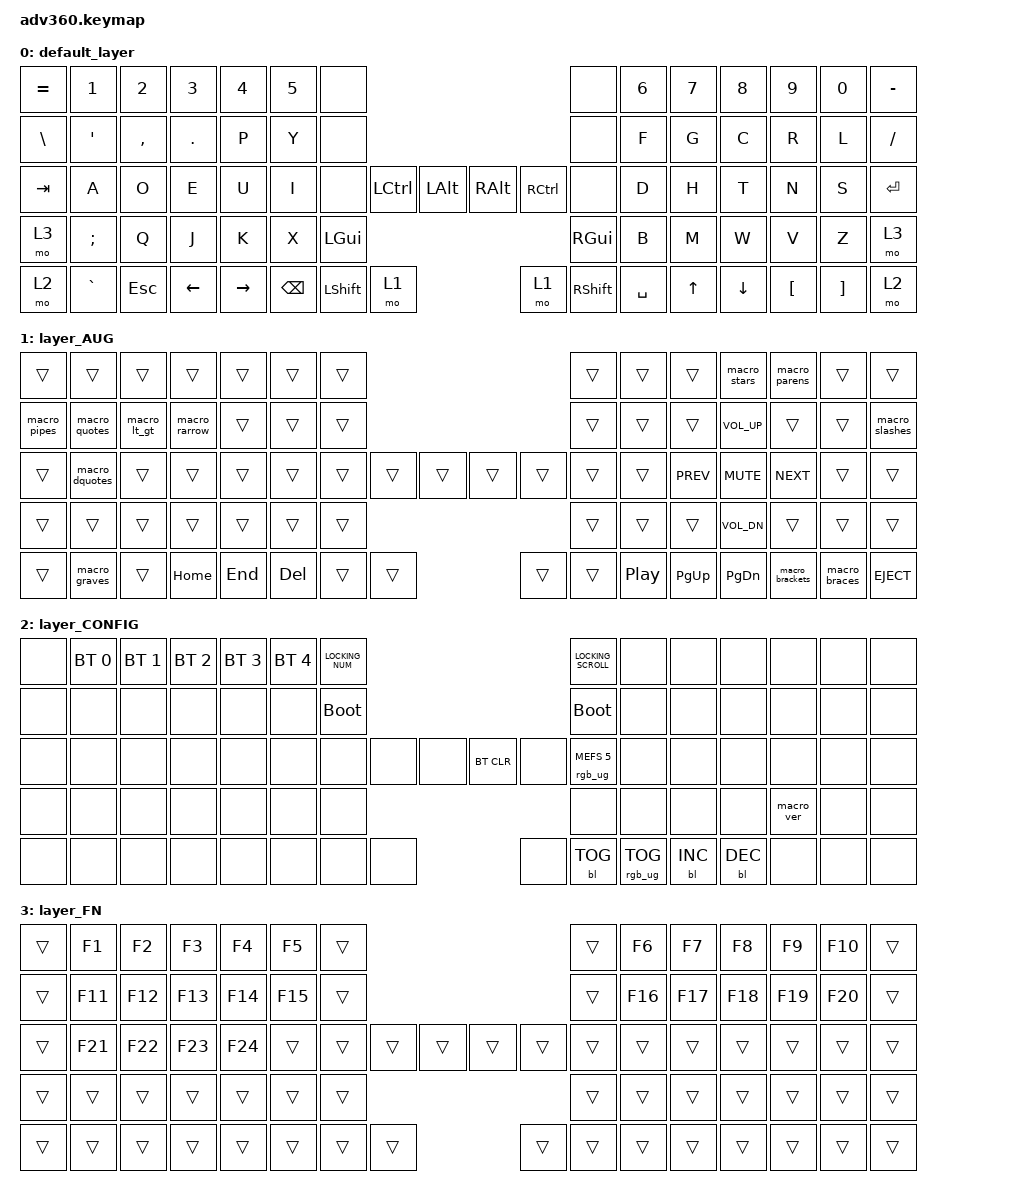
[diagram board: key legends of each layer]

/*
 * Copyright (c) 2020 The ZMK Contributors
 *
 * SPDX-License-Identifier: MIT
 */


/* THIS FILE WAS GENERATED!
 *
 * This file was generated automatically. You may or may not want to
 * edit it directly.
 */

#include <behaviors.dtsi>
#include <dt-bindings/zmk/keys.h>
#include <dt-bindings/zmk/bt.h>
#include <dt-bindings/zmk/rgb.h>
#include <dt-bindings/zmk/backlight.h>

/ {
  behaviors {
    #include "macros.dtsi"
    #include "version.dtsi"

    hm: homerow_mods {
        compatible = "zmk,behavior-hold-tap";
        label = "HOMEROW_MODS";
        #binding-cells = <2>;
        tapping-term-ms = <200>;
        quick_tap_ms = <175>;
        flavor = "tap-preferred";
        bindings = <&kp>, <&kp>;
    };
  };

    keymap {
        compatible = "zmk,keymap";


        default_layer {
            bindings = <
 &kp EQUAL     &kp N1     &kp N2    &kp N3     &kp N4  &kp N5               &none                                                                &none  &kp N6  &kp N7    &kp N8    &kp N9    &kp N0  &kp MINUS
  &kp BSLH    &kp SQT  &kp COMMA   &kp DOT      &kp P   &kp Y               &none                                                                &none   &kp F   &kp G     &kp C     &kp R     &kp L   &kp FSLH
   &kp TAB      &kp A      &kp O     &kp E      &kp U   &kp I               &none  &kp LCTRL  &kp LALT                  &kp RALT  &kp RCTRL      &none   &kp D   &kp H     &kp T     &kp N     &kp S  &kp ENTER
     &mo 3   &kp SEMI      &kp Q     &kp J      &kp K   &kp X                                 &kp LGUI                  &kp RGUI                         &kp B   &kp M     &kp W     &kp V     &kp Z      &mo 3
     &mo 2  &kp GRAVE    &kp ESC  &kp LEFT  &kp RIGHT                    &kp BSPC  &kp LSHFT     &mo 1                     &mo 1  &kp RSHFT  &kp SPACE          &kp UP  &kp DOWN  &kp LBKT  &kp RBKT      &mo 2
            >;
        };

        layer_AUG {
            bindings = <
       &trans          &trans        &trans         &trans   &trans  &trans             &trans                                                    &trans  &trans      &trans  &macro_stars    &macro_parens         &trans          &trans
 &macro_pipes   &macro_quotes  &macro_lt_gt  &macro_rarrow   &trans  &trans             &trans                                                    &trans  &trans      &trans  &kp C_VOL_UP           &trans         &trans  &macro_slashes
       &trans  &macro_dquotes        &trans         &trans   &trans  &trans             &trans  &trans  &trans                  &trans  &trans    &trans  &trans  &kp C_PREV    &kp C_MUTE       &kp C_NEXT         &trans          &trans
       &trans          &trans        &trans         &trans   &trans  &trans                             &trans                  &trans                    &trans      &trans  &kp C_VOL_DN           &trans         &trans          &trans
       &trans   &macro_graves        &trans       &kp HOME  &kp END                    &kp DEL  &trans  &trans                  &trans  &trans  &kp C_PP           &kp PG_UP     &kp PG_DN  &macro_brackets  &macro_braces     &kp C_EJECT
            >;
        };

        layer_CONFIG {
            bindings = <
  &none  &bt BT_SEL 0  &bt BT_SEL 1  &bt BT_SEL 2  &bt BT_SEL 3  &bt BT_SEL 4            &kp LOCKING_NUM                                                              &kp LOCKING_SCROLL   &none       &none       &none       &none   &none   &none
  &none         &none         &none         &none         &none         &none                &bootloader                                                                     &bootloader   &none       &none       &none       &none   &none   &none
  &none         &none         &none         &none         &none         &none                      &none   &none   &none                  &bt BT_CLR       &none  &rgb_ug RGB_MEFS_CMD 5   &none       &none       &none       &none   &none   &none
  &none         &none         &none         &none         &none         &none                                      &none                       &none                                       &none       &none       &none  &macro_ver   &none   &none
  &none         &none         &none         &none         &none                                    &none   &none   &none                       &none  &bl BL_TOG         &rgb_ug RGB_TOG          &bl BL_INC  &bl BL_DEC       &none   &none   &none
            >;
        };

        layer_FN {
            bindings = <
 &trans   &kp F1   &kp F2   &kp F3   &kp F4   &kp F5            &trans                                                  &trans   &kp F6   &kp F7   &kp F8   &kp F9  &kp F10  &trans
 &trans  &kp F11  &kp F12  &kp F13  &kp F14  &kp F15            &trans                                                  &trans  &kp F16  &kp F17  &kp F18  &kp F19  &kp F20  &trans
 &trans  &kp F21  &kp F22  &kp F23  &kp F24   &trans            &trans  &trans  &trans                  &trans  &trans  &trans   &trans   &trans   &trans   &trans   &trans  &trans
 &trans   &trans   &trans   &trans   &trans   &trans                            &trans                  &trans                   &trans   &trans   &trans   &trans   &trans  &trans
 &trans   &trans   &trans   &trans   &trans                     &trans  &trans  &trans                  &trans  &trans  &trans            &trans   &trans   &trans   &trans  &trans
            >;
        };

    };
};
